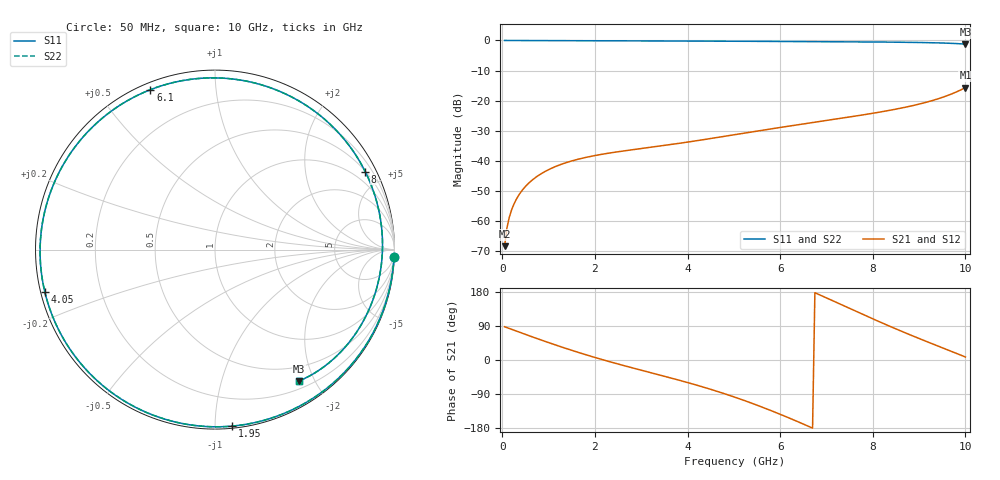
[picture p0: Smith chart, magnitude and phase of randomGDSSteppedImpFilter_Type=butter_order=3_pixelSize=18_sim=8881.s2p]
! freq	dB(S11)	phase(S11)	dB(S12)	phase(S12)
!  dB(S21)	phase(S21)	dB(S22)	phase(S22)
!S-par simulation data
#  GHz  S  DB  R 50
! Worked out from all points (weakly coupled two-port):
!   200 points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, 50 MHz to 10 GHz, reference 50 ohm
!   highest |S21| = -15.67 dB at 10 GHz (marker M1); lowest = -68.4 dB at 50 MHz (marker M2)
!   lowest |S11| = -1.2 dB at 10 GHz (marker M3), VSWR 14.21, Z = 14.9 - j89.2 ohm
!   |S11| at or under -10 dB: nowhere
!   |S22| runs from -1.2 to 0.0 dB; largest |S21 - S12| = 0
!   S11 on the Smith chart (normalised r, x): 50 MHz: 1, -49; 1.95 GHz: 0.01, -1.10; 4.05 GHz: 0.01, -0.12; 6.1 GHz: 0.03, +0.67; 8 GHz: 0.51, +4.03; 10 GHz: 0.30, -1.78
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0.05  -0.01 -2.3  -68.37 87.7  -68.37 87.7  -0.01 -2.3
0.1  -0.02 -4.6  -62.36 85.5  -62.36 85.5  -0.02 -4.6
0.2  -0.03 -9.1  -56.35 81.0  -56.35 81.0  -0.03 -9.1
0.35  -0.03 -15.8  -51.55 74.2  -51.55 74.2  -0.03 -15.8
0.5  -0.04 -22.4  -48.53 67.5  -48.53 67.5  -0.04 -22.4
1  -0.06 -44.5  -42.94 45.9  -42.94 45.9  -0.06 -44.5
1.75  -0.09 -76.3  -39.06 15.9  -39.06 15.9  -0.09 -76.3
1.95  -0.10 -84.6  -38.40 8.5  -38.40 8.5  -0.10 -84.5
2.65  -0.14 -112.5  -36.66 -15.6  -36.66 -15.6  -0.14 -112.4
3.4  -0.17 -141.3  -35.11 -39.7  -35.11 -39.7  -0.17 -141.3
4.05  -0.20 -165.9  -33.67 -61.2  -33.67 -61.2  -0.20 -166.0
4.55  -0.23 174.9  -32.48 -79.3  -32.48 -79.3  -0.23 174.9
5.05  -0.27 155.3  -31.24 -99.3  -31.24 -99.3  -0.27 155.3
5.55  -0.30 135.1  -30.01 -121.5  -30.01 -121.5  -0.30 135.0
6.1  -0.35 112.0  -28.69 -148.2  -28.69 -148.2  -0.35 111.9
6.7  -0.39 85.8  -27.29 -179.7  -27.29 -179.7  -0.39 85.7
7.3  -0.44 58.9  -25.90 147.3  -25.90 147.3  -0.44 58.8
8  -0.51 27.5  -24.21 108.6  -24.21 108.6  -0.51 27.3
8.35  -0.56 12.1  -23.27 89.9  -23.27 89.9  -0.56 12.0
8.75  -0.62 -5.1  -22.05 69.2  -22.05 69.2  -0.62 -5.2
9.15  -0.72 -21.9  -20.57 49.4  -20.57 49.4  -0.72 -22.0
10  -1.22 -57.5  -15.67 7.8  -15.67 7.8  -1.22 -57.6
